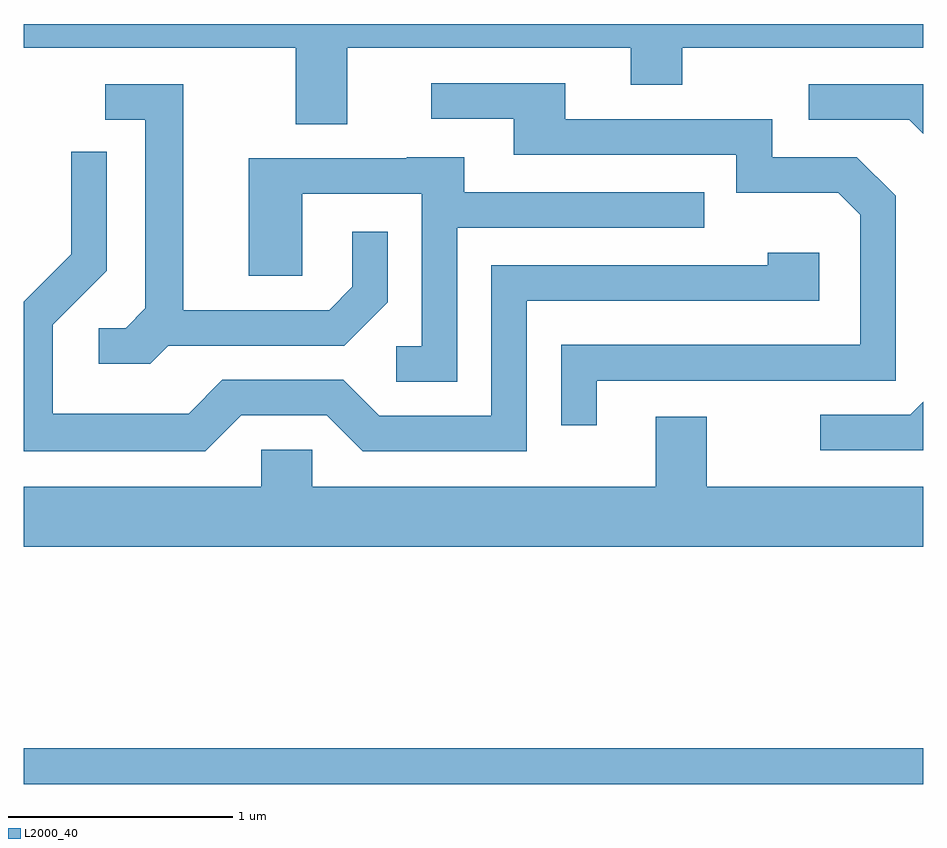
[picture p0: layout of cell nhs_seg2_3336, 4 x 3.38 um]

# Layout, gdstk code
import gdstk
lib = gdstk.Library(unit=1e-6, precision=1e-09)
def R(c, l, rs):  # rectangles x0, y0, x1, y1
    for r in rs: c.add(gdstk.rectangle(r[:2], r[2:], *l))
def P(c, l, *ps):  # polygons
    for p in ps: c.add(gdstk.Polygon(p, *l))
L2000_40 = (2000, 40)

nhs_seg2_3336 = lib.new_cell('nhs_seg2_3336')
R(nhs_seg2_3336, L2000_40, [(283.611,998.421,287.611,998.579)])
P(nhs_seg2_3336, L2000_40, [(285.049,1001.696),(286.311,1001.696),(286.311,1001.531),(286.539,1001.531),(286.539,1001.696),(287.611,1001.696),(287.611,1001.802),(283.611,1001.802),(283.611,1001.696),(284.821,1001.696),(284.821,1001.356),(285.049,1001.356)],
  [(286.159,1000.216),(287.489,1000.216),(287.489,1001.037),(287.317,1001.209),(286.939,1001.209),(286.939,1001.379),(286.019,1001.379),(286.019,1001.539),(285.423,1001.539),(285.423,1001.381),(285.791,1001.381),(285.791,1001.221),(286.781,1001.221),(286.781,1001.051),(287.234,1001.051),(287.331,1000.954),(287.331,1000.374),(286.001,1000.374),(286.001,1000.018),(286.159,1000.018)],
  [(287.611,1001.534),(287.103,1001.534),(287.103,1001.376),(287.549,1001.376),(287.611,1001.314)],
  [(284.252,1000.371),(285.037,1000.371),(285.229,1000.564),(285.229,1000.878),(285.071,1000.878),(285.071,1000.632),(284.969,1000.529),(284.319,1000.529),(284.319,1001.534),(283.973,1001.534),(283.973,1001.376),(284.151,1001.376),(284.151,1000.537),(284.064,1000.449),(283.943,1000.449),(283.943,1000.291),(284.172,1000.291)],
  [(284.577,1000.061),(284.959,1000.061),(285.119,999.901),(285.849,999.901),(285.849,1000.571),(287.149,1000.571),(287.149,1000.784),(286.921,1000.784),(286.921,1000.729),(285.691,1000.729),(285.691,1000.059),(285.192,1000.059),(285.032,1000.219),(284.494,1000.219),(284.344,1000.069),(283.739,1000.069),(283.739,1000.464),(283.979,1000.704),(283.979,1001.233),(283.821,1001.233),(283.821,1000.777),(283.611,1000.567),(283.611,999.901),(284.417,999.901)],
  [(285.539,1000.896),(286.638,1000.896),(286.638,1001.054),(285.569,1001.054),(285.569,1001.209),(285.315,1001.209),(285.315,1001.204),(284.611,1001.204),(284.611,1000.681),(284.849,1000.681),(284.849,1001.046),(285.381,1001.046),(285.381,1000.369),(285.268,1000.369),(285.268,1000.211),(285.539,1000.211)],
  [(287.611,1000.122),(287.554,1000.064),(287.153,1000.064),(287.153,999.906),(287.611,999.906)],
  [(287.611,999.744),(286.649,999.744),(286.649,1000.054),(286.421,1000.054),(286.421,999.744),(284.894,999.744),(284.894,999.909),(284.666,999.909),(284.666,999.744),(283.611,999.744),(283.611,999.476),(287.611,999.476)])

lib.write_gds('nhs_seg2_3336.gds')
